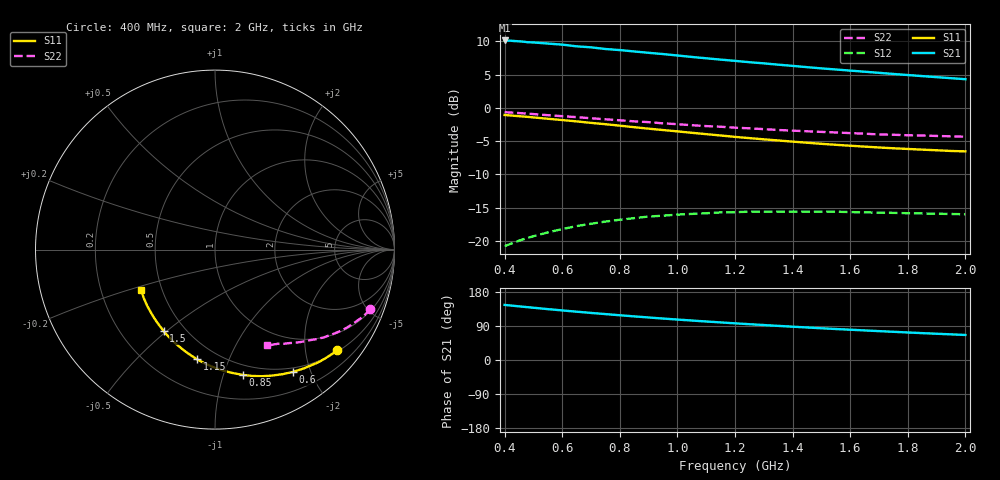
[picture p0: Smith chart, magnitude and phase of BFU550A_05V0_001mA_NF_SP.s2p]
! Filename:  P:\Prog\Test\Noise\ATS_data\Testdata_Net\06 Compressed Noise after Statistics\BFU550A_APG2013_35_C05_05p0V_001mA_NF_CM01_D.sf
! Date/Time: Tue 16/Apr/2013 15:11:25
! BFU550A_APG2013_35_C05_05p0V_1to35mA_NF_CM01_Bias1_R.sf
! Noise Parameter Data File
! BFU550A_APG2013_35_C05_05p0V_1to35mA_SP_CM01
! Date/time: Mon Apr 15 16:43:38 2013
! freq range =  0.4000 to  2.0000 GHz, 37 points
! bias range =  1.0000 to 35.0000 mA, 8 points
! bias supplies used: 1 1 0 0 0 0
! VAR bias_mode= 1  ! Specify V_out, I_out
! VAR bias_var = 1  ! Bias variable = I_out
! VAR V_out= 5.001000
! VAR I_out= 1.000000
! VAR V_in= 0.783000
! VAR I_in= 0.010301
! Device data file deembeded for feedlines and parallel
! Original file: \06 Compressed Noise after Statistics\BFU550A_APG2013_35_C05_05p0V_001mA_NF_CM01_R.sf
! Feed-files: PR017V01_150413_Feed1.s2p, PR017V01_150413_Feed2.s2p
! Parallel-file: PR017V01_150413_Par.s2p
# MHz S MA R 50
!  Freq-MHz  S11-mag  S11-arg  S21-mag  S21-arg  S12-mag  S12-arg  S22-mag  S22-arg
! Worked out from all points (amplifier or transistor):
!   37 points, 400 MHz to 2 GHz, reference 50 ohm
!   highest |S21| = 10.1 dB at 400 MHz (marker M1)
!   |S21| within 3 dB of that: start of sweep to 1.182 GHz
!   unconditionally stable (mu >= 1): nowhere
!   at 500 MHz: K = 0.23, MSG = 14.6 dB, |S12| = -19.3 dB
!   at 1.1 GHz: K = 0.47, MSG = 11.6 dB, |S12| = -15.8 dB
!   at 2 GHz: K = 0.88, MSG = 10.2 dB, |S12| = -16.0 dB
!   lowest NFmin = 0.48 dB at 420 MHz
!   S11 on the Smith chart (normalised r, x): 400 MHz: 0.53, -2.70; 600 MHz: 0.44, -1.74; 850 MHz: 0.41, -1.16; 1.15 GHz: 0.39, -0.77; 1.5 GHz: 0.38, -0.49; 2 GHz: 0.38, -0.22
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400  0.8829 -39.4  3.206 145.5  0.0912 65.2  0.9269 -20.9
420  0.8756 -41.3  3.195 143.9  0.09491 64.2  0.9212 -21.9
440  0.8684 -43.1  3.171 142.3  0.09846 63.1  0.9156 -22.7
480  0.8548 -46.7  3.111 139.4  0.1052 61.0  0.9031 -24.5
500  0.8467 -48.5  3.098 137.9  0.1084 60.1  0.8969 -25.3
550  0.8271 -53.1  3.039 134.3  0.1157 57.6  0.8798 -27.3
600  0.8087 -57.4  2.984 130.8  0.1226 55.4  0.8646 -29.2
650  0.7901 -61.4  2.897 127.5  0.1291 53.4  0.8505 -31.0
700  0.7703 -65.7  2.847 124.2  0.1344 51.3  0.8343 -32.8
750  0.7527 -69.6  2.766 121.1  0.1396 49.5  0.8197 -34.4
800  0.7338 -73.6  2.715 118.1  0.1441 47.7  0.8053 -36.0
850  0.7145 -77.6  2.65 115.0  0.1482 46.0  0.7909 -37.5
950  0.6804 -85.1  2.534 109.4  0.1546 42.9  0.764 -40.4
1050  0.6488 -92.3  2.41 104.1  0.1594 40.4  0.7396 -42.8
1150  0.6193 -99.3  2.301 99.2  0.1636 38.0  0.7207 -45.0
1200  0.6045 -102.7  2.253 96.8  0.1642 37.1  0.7086 -46.3
1350  0.568 -112.6  2.109 90.0  0.1659 34.7  0.681 -49.5
1500  0.5361 -122.2  1.978 83.8  0.1659 33.1  0.6589 -52.5
1600  0.5186 -128.3  1.903 79.9  0.1645 32.6  0.6452 -54.5
1750  0.4962 -137.4  1.796 74.4  0.1623 32.7  0.6272 -57.1
1850  0.4846 -143.2  1.73 70.9  0.1608 33.0  0.6192 -58.9
2000  0.4703 -151.7  1.64 66.1  0.1583 34.6  0.6061 -61.7
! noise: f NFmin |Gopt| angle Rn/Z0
400  0.5168  0.6608  22.52  0.3442
460  0.5686  0.6601  27.78  0.3488
600  0.6397  0.6244  34.02  0.3281
800  0.6318  0.6203  49.16  0.2605
1000  0.6472  0.6041  62.74  0.2409
1200  0.8134  0.5818  75.08  0.2282
1400  0.8617  0.5604  87.68  0.1857
1600  0.9  0.5259  103.9  0.146
1800  0.683  0.5379  116.8  0.1133
2000  0.821  0.5367  130.3  0.088
